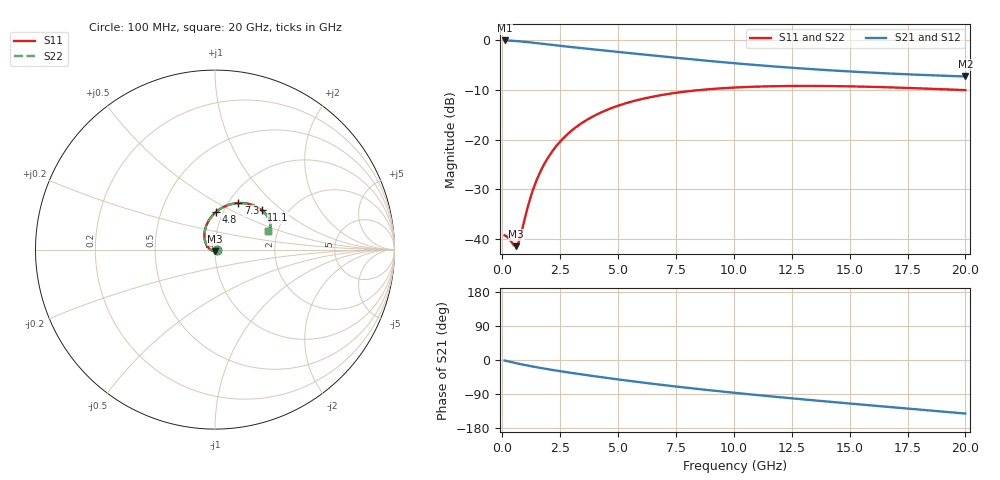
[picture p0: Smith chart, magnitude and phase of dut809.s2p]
! Touchstone file exported from HFSS 2024.1.0
!  File:  C:/UserFiles/LocalFiles/RDL_TSV_Batchsim/temp_RDL_TSV_809_1779912338.aedt
!  Generated:  04:20:56 AM May 28, 2026
!  Design:  RDL_TSV
!  Project:  temp_RDL_TSV_809_1779912338
!  Setup:  Setup1
!  Solution:  Sweep
! Variables:
!  dtsv = 13.9um
!  hbump = 3um
!  htsv = 59.37um
!  ldown = 443.34um
!  lrdl = 148.85um
!  p = 40
!  p1 = 55.93um
!  rhole = 10um
!  subl = 1925.42um
!  t = 450um
!  tdown = 2.75um
!  trdl = 4.24um
!  viad = 10um
!  wdown = 20.65um
!  wrdl = 21.45um
!  xbump = 18um
# GHz S MA R 50.000000
! Terminal data exported
! Port[1] = TM1_1_T1
! Port[2] = TM1_4_T1
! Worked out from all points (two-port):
!   200 points, 100 MHz to 20 GHz, reference 50 ohm
!   highest |S21| = -0.10 dB at 100 MHz (marker M1); lowest = -7.3 dB at 20 GHz (marker M2)
!   |S21| within 3 dB of the highest: start of sweep to 6.478 GHz
!   lowest |S11| = -41.4 dB at 600 MHz (marker M3), VSWR 1.02, Z = 50.1 - j0.853 ohm
!   |S11| at or under -10 dB: start of sweep to 8.639 GHz; 19.65 GHz to end of sweep
!   |S22| runs from -41.4 to -9.2 dB; largest |S21 - S12| = 8.4e-15
!   S11 on the Smith chart (normalised r, x): 100 MHz: 1.02, -0.00; 4.8 GHz: 0.93, +0.41; 7.3 GHz: 1.11, +0.63; 11.1 GHz: 1.48, +0.74; 20 GHz: 1.78, +0.41
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0.1  0.01097 -8.6  0.9884 -1.4  0.9884 -1.4  0.01097 -8.6
! Gamma 0 0 0 0
! Port Impedance 50 0 50 0
0.3  0.01011 -30.0  0.9848 -4.3  0.9848 -4.3  0.01012 -30.0
0.5  0.008724 -63.3  0.9788 -7.0  0.9788 -7.0  0.008733 -63.2
0.6  0.008537 -86.0  0.9751 -8.4  0.9751 -8.4  0.008543 -85.9
0.7  0.009256 -110.3  0.971 -9.7  0.971 -9.7  0.009255 -110.1
0.8  0.01105 -131.8  0.9665 -11.0  0.9665 -11.0  0.01104 -131.7
1.1  0.02112 -171.7  0.9513 -14.7  0.9513 -14.7  0.02108 -171.6
1.3  0.0301 173.3  0.9402 -17.1  0.9402 -17.1  0.03002 173.3
1.5  0.04008 162.2  0.9288 -19.3  0.9288 -19.3  0.03998 162.2
1.8  0.05619 149.4  0.9116 -22.6  0.9116 -22.6  0.05605 149.4
2.1  0.07301 139.2  0.8947 -25.6  0.8947 -25.6  0.07283 139.2
2.5  0.09572 128.1  0.8731 -29.5  0.8731 -29.5  0.09548 128.1
3  0.1236 116.7  0.8477 -34.2  0.8477 -34.2  0.1233 116.7
3.5  0.1501 107.3  0.8239 -38.7  0.8239 -38.7  0.1497 107.2
4.8  0.2107 88.1  0.7667 -49.6  0.7667 -49.6  0.2101 88.1
6.8  0.2782 67.5  0.6877 -65.0  0.6877 -65.0  0.2774 67.4
7.3  0.2906 63.3  0.6696 -68.6  0.6696 -68.6  0.2898 63.3
10.1  0.3339 45.2  0.5822 -87.0  0.5822 -87.0  0.3329 45.1
11.1  0.3409 40.3  0.5568 -93.1  0.5568 -93.1  0.3399 40.2
13.4  0.3459 31.3  0.5089 -106.2  0.5089 -106.2  0.3448 31.2
16.7  0.3347 22.9  0.4609 -123.9  0.4609 -123.9  0.3337 22.7
20  0.3139 19.1  0.4302 -141.3  0.4302 -141.3  0.3128 18.9
